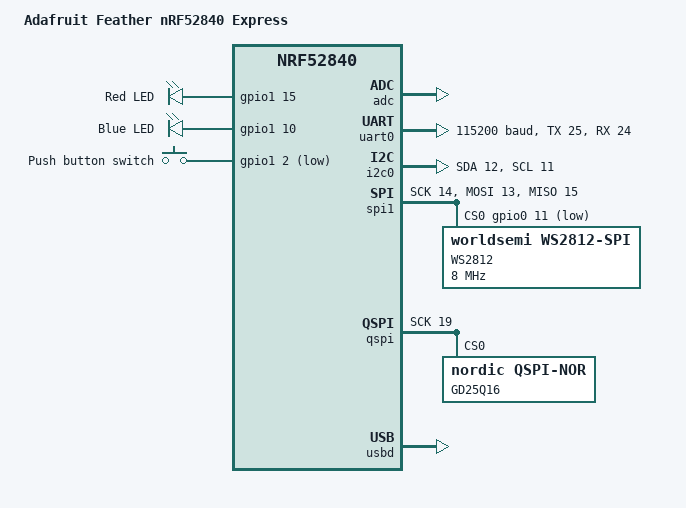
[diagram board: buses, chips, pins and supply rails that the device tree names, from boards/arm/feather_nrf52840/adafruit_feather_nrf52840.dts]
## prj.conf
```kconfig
CONFIG_LOG=y
CONFIG_LED_STRIP=y
CONFIG_LED_STRIP_LOG_LEVEL_DBG=y
CONFIG_WS2812_STRIP=y
#CONFIG_WS2812_STRIP_SPI=y
#CONFIG_WS2812_STRIP_GPIO=y

#CONFIG_SPI=y
CONFIG_NRFX_SPIM=y
CONFIG_NRFX_SPIM1=y
#CONFIG_NRFX_SPIM=y

# This driver only uses spi_write() with the SPIM instance it allocates,
# so PAN 58 doesn't matter, because the RX length is always 0.
#CONFIG_SOC_NRF52832_ALLOW_SPIM_DESPITE_PAN_58=y
```

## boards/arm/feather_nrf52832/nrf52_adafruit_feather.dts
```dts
/*
 * Copyright (c) 2018 LEDCity AG
 * Copyright (c) 2017 Linaro Limited
 *
 * SPDX-License-Identifier: Apache-2.0
 */

/dts-v1/;
#include <nordic/nrf52832_qfaa.dtsi>
#include <dt-bindings/led/led.h>
//#include "feather_connector.dtsi"

/ {
	model = "nRF52 Adafruit Feather";
	compatible = "adafruit,nrf52_adafruit_feather";

	aliases {
		pwm-led0 = &red_pwm_led;
	};

	chosen {
		zephyr,console = &uart0;
		zephyr,shell-uart = &uart0;
		zephyr,uart-mcumgr = &uart0;
		zephyr,bt-mon-uart = &uart0;
		zephyr,bt-c2h-uart = &uart0;
		zephyr,sram = &sram0;
		zephyr,flash = &flash0;
		zephyr,code-partition = &slot0_partition;
	};

	/* These aliases are provided for compatibility with samples */
	aliases {
		led0 = &led0;
		led1 = &led1;
		sw0 = &button0;
	};

	leds {
		compatible = "gpio-leds";
		led0: led_0 {
			gpios = <&gpio0 17 0>;
			label = "Red LED";
		};
		led1: led_1 {
			gpios = <&gpio0 19 0>;
			label = "Blue LED";
		};
	};

	pwmleds {
		compatible = "pwm-leds";
		red_pwm_led: pwm_led_0 {
			pwms = <&pwm0 17>;
		};
		blue_pwm_led: pwm_led_1 {
			pwms = <&pwm0 19>;
		};
	};

	buttons {
		compatible = "gpio-keys";
		button0: button_0 {
			gpios = <&gpio0 20 (GPIO_PULL_UP | GPIO_ACTIVE_LOW)>;
			label = "Button";
		};
	};

	// led_strip: bitbang {
	// 	compatible = "worldsemi,ws2812-gpio";
	// 	label = "bitbang";
	// 	in-gpios = <&gpio0 13 GPIO_ACTIVE_HIGH>;

	// 	chain-length = <42>; /* arbitrary; change at will */
	// 	color-mapping = <LED_COLOR_ID_GREEN
	// 			 		LED_COLOR_ID_RED
	// 			 		LED_COLOR_ID_BLUE>;
	// 	reset-delay = <8>;
	// };

	aliases {
		led-strip = &led_strip;
	};
};

&gpiote {
	status = "okay";
};

&gpio0 {
	status = "okay";
};

&uart0 {
	compatible = "nordic,nrf-uart";
	current-speed = <115200>;
	status = "okay";
	tx-pin = <6>;
	rx-pin = <8>;
};

&i2c0 {
	compatible = "nordic,nrf-twi";
	sda-pin = <25>;
	scl-pin = <26>;
};

// &spi0 {
// 	compatible = "nordic,nrf-spi";
// 	status = "okay";
// 	sck-pin = <25>; // 15+32
// 	miso-pin = <17>; // 14+32
// 	mosi-pin = <19>; // 13+32
// 	cs-gpios = <&gpio1 1 GPIO_ACTIVE_LOW>;
// 	lora: sx1261@0 {
// 		compatible = "p1,sx1261";
// 		//status = "disabled";
// 		reg = <0>;
// 		label = "sx1261";
// 		reset-gpios = <&gpio1 4 GPIO_ACTIVE_LOW>;
// 		busy-gpios = <&gpio0 15 GPIO_ACTIVE_HIGH>;
// 		dio1-gpios = <&gpio0 22 GPIO_ACTIVE_HIGH>;
// 		// antenna-enable-gpios = <&gpio1 10  GPIO_ACTIVE_HIGH>;
// 		dio2-tx-enable;
// 		spi-max-frequency = <1000000>;
		
// 	};
// };

&spi0 {
	compatible = "nordic,nrf-spim";
	status = "okay";
	sck-pin = <12>; 
	mosi-pin = <13>; 
	miso-pin = <14>; 

	cs-gpios = <&gpio0 11 GPIO_ACTIVE_LOW>;
	led_strip: ws2812@0 {
		compatible = "worldsemi,ws2812-spi";
		label = "WS2812";

		/* SPI */
		reg = <0>; /* ignored, but necessary for SPI bindings */
		spi-max-frequency = <8000000>;
		//spi-max-frequency = <8333333>;

		/* WS2812 */
		chain-length = <42>; /* arbitrary; change at will */
		color-mapping = <LED_COLOR_ID_GREEN
				 		LED_COLOR_ID_RED
				 		LED_COLOR_ID_BLUE>;
		reset-delay = <50>;
		//spi-one-frame = <0x40>;
		spi-one-frame = <0x40>;
		//spi-zero-frame = <0x70>;
		//spi-zero-frame = <0x80>;
		//spi-zero-frame = <0xE0>;
		//spi-zero-frame = <0x80>;
		spi-zero-frame = <0x70>;
	};
};






&flash0 {

	partitions {
		compatible = "fixed-partitions";
		#address-cells = <1>;
		#size-cells = <1>;

		boot_partition: partition@0 {
			label = "mcuboot";
			reg = <0x00000000 0xc000>;
		};
		slot0_partition: partition@c000 {
			label = "image-0";
			reg = <0x0000C000 0x32000>;
		};
		slot1_partition: partition@3e000 {
			label = "image-1";
			reg = <0x0003E000 0x32000>;
		};
		scratch_partition: partition@70000 {
			label = "image-scratch";
			reg = <0x00070000 0xa000>;
		};
		storage_partition: partition@7a000 {
			label = "storage";
			reg = <0x0007a000 0x00006000>;
		};
	};
};

&pwm0 {
	status = "okay";
	ch0-pin = <17>;
	ch0-inverted;
};
```

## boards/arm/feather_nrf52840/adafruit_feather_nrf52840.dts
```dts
/*
 * Copyright (c) 2020 Tobias Svehagen
 *
 * SPDX-License-Identifier: Apache-2.0
 */

/dts-v1/;
#include <nordic/nrf52840_qiaa.dtsi>
#include <dt-bindings/led/led.h>
//#include "feather_connector.dtsi"

/ {
	model = "Adafruit Feather nRF52840 Express";
	compatible = "adafruit,feather-nrf52840";

	chosen {
		zephyr,console = &uart0;
		zephyr,shell-uart = &uart0;
		zephyr,uart-mcumgr = &uart0;
		zephyr,bt-mon-uart = &uart0;
		zephyr,bt-c2h-uart = &uart0;
		zephyr,sram = &sram0;
		zephyr,flash = &flash0;
		zephyr,code-partition = &slot0_partition;
	};

	leds {
		compatible = "gpio-leds";
		led0: led_0 {
			gpios = <&gpio1 15 0>;
			label = "Red LED";
		};
		led1: led_1 {
			gpios = <&gpio1 10 0>;
			label = "Blue LED";
		};
	};

	buttons {
		compatible = "gpio-keys";
		button0: button_0 {
			gpios = <&gpio1 2 (GPIO_PULL_UP | GPIO_ACTIVE_LOW)>;
			label = "Push button switch";
		};
	};

	/* These aliases are provided for compatibility with samples */
	aliases {
		led0 = &led0;
		led1 = &led1;
		sw0 = &button0;
	};
};

&adc {
	status = "okay";
};

&gpiote {
	status = "okay";
};

&gpio0 {
	status = "okay";
};

&gpio1 {
	status = "okay";
};

&uart0 {
	compatible = "nordic,nrf-uart";
	current-speed = <115200>;
	status = "okay";
	tx-pin = <25>;
	rx-pin = <24>;
};

&i2c0 {
	compatible = "nordic,nrf-twi";
	status = "okay";
	sda-pin = <12>;
	scl-pin = <11>;
};

&spi1 {
	compatible = "nordic,nrf-spim";
	status = "okay";
	sck-pin = <14>;
	mosi-pin = <13>;
	miso-pin = <15>;
	cs-gpios = <&gpio0 11 GPIO_ACTIVE_LOW>;
	led_strip: ws2812@0 {
		compatible = "worldsemi,ws2812-spi";
		label = "WS2812";

		/* SPI */
		reg = <0>; /* ignored, but necessary for SPI bindings */
		spi-max-frequency = <8000000>;
		//spi-max-frequency = <8333333>;

		/* WS2812 */
		chain-length = <42>; /* arbitrary; change at will */
		color-mapping = <LED_COLOR_ID_GREEN
				 		LED_COLOR_ID_RED
				 		LED_COLOR_ID_BLUE>;
		reset-delay = <8>;
		//spi-one-frame = <0x40>;
		spi-one-frame = <0x40>;
		//spi-zero-frame = <0x70>;
		//spi-zero-frame = <0x80>;
		//spi-zero-frame = <0xE0>;
		//spi-zero-frame = <0x80>;
		spi-zero-frame = <0x70>;
	};
};

&qspi {
	status = "okay";
	sck-pin = <19>;
	io-pins = <17>, <22>, <23>, <21>;
	csn-pins = <20>;
	gd25q16: gd25q16@0 {
		/* NOTE: Quad mode not supported as driver does not handle
		 * QE bit setting in SR2. Ref. GD25Q16C, Rev 3.0, p. 12.
		 */
		compatible = "nordic,qspi-nor";
		reg = <0>;
		writeoc = "pp2o";
		readoc = "read2io";
		sck-frequency = <16000000>;
		label = "GD25Q16";
		jedec-id = [c8 40 15];
		size = <16777216>;
		has-dpd;
		t-enter-dpd = <20000>;
		t-exit-dpd = <20000>;
	};
};

&flash0 {

	partitions {
		compatible = "fixed-partitions";
		#address-cells = <1>;
		#size-cells = <1>;

		boot_partition: partition@0 {
			label = "mcuboot";
			reg = <0x000000000 0x0000C000>;
		};
		slot0_partition: partition@c000 {
			label = "image-0";
			reg = <0x0000C000 0x00067000>;
		};
		slot1_partition: partition@73000 {
			label = "image-1";
			reg = <0x00073000 0x00067000>;
		};
		scratch_partition: partition@da000 {
			label = "image-scratch";
			reg = <0x000da000 0x0001e000>;
		};

		/*
		 * The flash starting at 0x000f8000 and ending at
		 * 0x000fffff is reserved for use by the application.
		 */

		/* Storage partition will be used by FCB/NFFS/NVS if enabled. */
		storage_partition: partition@f8000 {
			label = "storage";
			reg = <0x000f8000 0x00008000>;
		};
	};
};

zephyr_udc0: &usbd {
	compatible = "nordic,nrf-usbd";
	status = "okay";
};
```

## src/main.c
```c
/*
 * Copyright (c) 2017 Linaro Limited
 * Copyright (c) 2018 Intel Corporation
 *
 * SPDX-License-Identifier: Apache-2.0
 */

#include <errno.h>
#include <string.h>

#define LOG_LEVEL 4
#include <logging/log.h>
LOG_MODULE_REGISTER(main);

#include <zephyr.h>
#include <drivers/led_strip.h>
#include <device.h>
#include <drivers/spi.h>
#include <sys/util.h>

#define STRIP_NODE		DT_NODELABEL(led_strip)
#define STRIP_NUM_PIXELS	DT_PROP(DT_NODELABEL(led_strip), chain_length)

//#define DELAY_TIME K_MSEC(50)

#define DELAY_TIME K_MSEC(10)

#define RGB(_r, _g, _b) { .r = (_r), .g = (_g), .b = (_b) }

// static const struct led_rgb colors[] = {
// 	RGB(0x00, 0x00, 0x7f), /* blue */
// 	RGB(0x7f, 0x00, 0x00), /* red */
// 	RGB(0x00, 0x7f, 0x00), /* green */
// };

static const struct led_rgb colors[] = {
	
	RGB(0xff, 0x00, 0x00), /* red */
	RGB(0x00, 0xff, 0x00), /* green */
	RGB(0x00, 0x00, 0xff), /* blue */
	RGB(0xff, 0xff, 0x00), /* red */
	RGB(0x00, 0xff, 0xff), /* green */
	RGB(0xff, 0x00, 0xff), /* blue */

};

#define LED_MAX_VALUE 0xff

void color_wheel_to_rgb(float theta,float r,float scale,struct led_rgb *out)
{
	float scales[3];
	r = (r>1) ? 1.0 : r;
	r = (r<0) ? 0 : r;
	scale = (scale>1) ? 1.0 : scale;
	scale = (scale<0) ? 0 : scale;
	for(uint8_t i=0;i<3;i++)
	{
		while(theta > 360)
		{
			theta -= 360;
		}
		if(theta < 120)
		{
			scales[i] = 1.0 * scale;
		}
		else if (theta < 180)
		{
			scales[i] = ((180 - theta)/(60.0)) * scale;
		}
		else if (theta < 300)
		{
			scales[i] = (1 - r) * scale;
		}
		else
		{
			scales[i] = (1 - ((360-theta)/(60.0))) * scale;
		}
		theta += 120;
	}
	out->r = (uint8_t)(LED_MAX_VALUE * scales[1]);
	out->g = (uint8_t)(LED_MAX_VALUE * scales[0]);
	out->b = (uint8_t)(LED_MAX_VALUE * scales[2]);
	//return (struct led_rgb RGB((uint8_t)(LED_MAX_VALUE * scales[1]),(uint8_t)(LED_MAX_VALUE * scales[0]),(uint8_t)(LED_MAX_VALUE * scales[2])));
}

// static const struct led_rgb colors[] = {
// 	RGB(0x00, 0x00, 0x0f), /* blue */
// 	RGB(0x0f, 0x00, 0x00), /* red */
// 	RGB(0x00, 0x0f, 0x00), /* green */
// };

static const struct led_rgb clear = RGB(0x00, 0x00, 0x00);
struct led_rgb pixels[STRIP_NUM_PIXELS];

static const struct device *strip = DEVICE_DT_GET(STRIP_NODE);


void main(void)
{
	size_t cursor = 0, color = 0;
	int rc;
	//strip = device_get_binding("bitbang");
	if (device_is_ready(strip)) {
		LOG_INF("Found LED strip device %s", strip->name);
	} else {
		LOG_ERR("LED strip device %s is not ready", strip->name);
		return;
	}
	float theta_base = 0;
	float theta_n = 0;

	uint16_t i = 0;
	LOG_INF("Displaying pattern on strip");
	while (1) {
		color = 0;
		cursor = 0;
		for(i = 0; i<(ARRAY_SIZE(colors) * STRIP_NUM_PIXELS * 3);i++)
			{
				theta_base += 3;
				if(theta_base >= 360)
				{
					theta_base = 0;
				}
				float theta_n = 0;

				for(uint16_t j = 0;j<STRIP_NUM_PIXELS;j++)
				{
					
					color_wheel_to_rgb(theta_base+theta_n,1,1,&pixels[j]);
					
					if(j>22)
					{
						theta_n -= 30;
					}
					else
					{
						theta_n += 30;
					}
				}
				rc = led_strip_update_rgb(strip, pixels, STRIP_NUM_PIXELS);

			if (rc) {
				LOG_ERR("couldn't update strip: %d", rc);
			}

			// cursor++;
			// if (cursor >= STRIP_NUM_PIXELS) {
			// 	cursor = 0;
			// 	color++;
			// 	if (color == ARRAY_SIZE(colors)) {
			// 		color = 0;
			// 	}
			// }
			k_sleep(DELAY_TIME);
		}
		// color = 0;
		// for(i = 0; i<(ARRAY_SIZE(colors) * 2);i++)
		// {
		// 	cursor = 0;
		// 	memset(&pixels, 0x00, sizeof(pixels));
		// 	while (cursor < STRIP_NUM_PIXELS)
		// 	{
		// 		memcpy(&pixels[cursor++], &colors[color], sizeof(struct led_rgb));
		// 		//cursor++;
		// 		rc = led_strip_update_rgb(strip, pixels, STRIP_NUM_PIXELS);
		// 		k_sleep(DELAY_TIME);
		// 	}
		// 	cursor = 0;
		// 	while (cursor < STRIP_NUM_PIXELS)
		// 	{
		// 		memcpy(&pixels[cursor++], &clear, sizeof(struct led_rgb));
		// 		//cursor++;
		// 		rc = led_strip_update_rgb(strip, pixels, STRIP_NUM_PIXELS);
		// 		k_sleep(DELAY_TIME);
		// 	}
		// 	color++;
		// 	if (color == ARRAY_SIZE(colors)) {
		// 		color = 0;
		// 	}
		// }
		// color = 0;
		// for(i = 0; i<(ARRAY_SIZE(colors));i++)
		// {
		// 	memset(&pixels, 0x00, sizeof(pixels));
		// 	for(uint16_t j = 0;j<STRIP_NUM_PIXELS;j++)
		// 	{
		// 		memcpy(&pixels[j], &colors[color], sizeof(struct led_rgb));
		// 	}
		// 	rc = led_strip_update_rgb(strip, pixels, STRIP_NUM_PIXELS);
		// 	color++;
		// 	k_sleep(K_MSEC(25*STRIP_NUM_PIXELS));
		// }
	}
}
```
